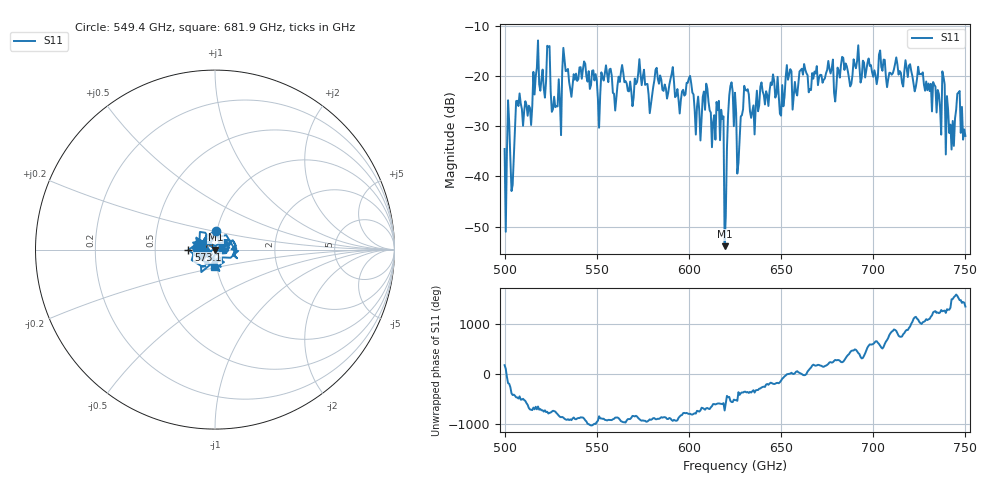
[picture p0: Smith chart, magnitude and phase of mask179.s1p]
!Created with skrf (http://scikit-rf.org).
# GHz S MA R 50.0
!freq magS11 angS11
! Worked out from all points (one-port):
!   401 points, 500 GHz to 750 GHz, reference 50 ohm
!   lowest |S11| = -53.9 dB at 619.4 GHz (marker M1), VSWR 1.00, Z = 50.2 - j0.0219 ohm
!   |S11| at or under -10 dB: start of sweep to end of sweep
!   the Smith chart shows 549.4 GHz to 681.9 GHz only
!   S11 on the Smith chart (normalised r, x): 549.4 GHz: 0.99, +0.21; 573.1 GHz: 0.74, -0.00; 681.9 GHz: 0.97, -0.19
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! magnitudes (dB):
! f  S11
! 500 GHz  -34.5
! 504.4 GHz  -41.7
! 507.5 GHz  -26.0
! 513.8 GHz  -26.3
! 516.9 GHz  -20.1
! 523.8 GHz  -14.1
! 526.9 GHz  -24.1
! 531.2 GHz  -19.0
! 549.4 GHz  -19.6
! 562.5 GHz  -21.2
! 573.1 GHz  -16.6
! 593.8 GHz  -22.6
! 616.2 GHz  -24.9
! 619.4 GHz  -53.9
! 620.6 GHz  -34.5
! 622.5 GHz  -22.0
! 625 GHz  -23.3
! 627.5 GHz  -32.5
! 631.2 GHz  -22.9
! 634.4 GHz  -27.1
! 656.2 GHz  -26.7
! 681.9 GHz  -20.3
! 687.5 GHz  -22.0
! 718.8 GHz  -20.2
! 738.8 GHz  -21.6
! 742.5 GHz  -34.6
! 746.9 GHz  -23.0
! 750 GHz  -31.9
